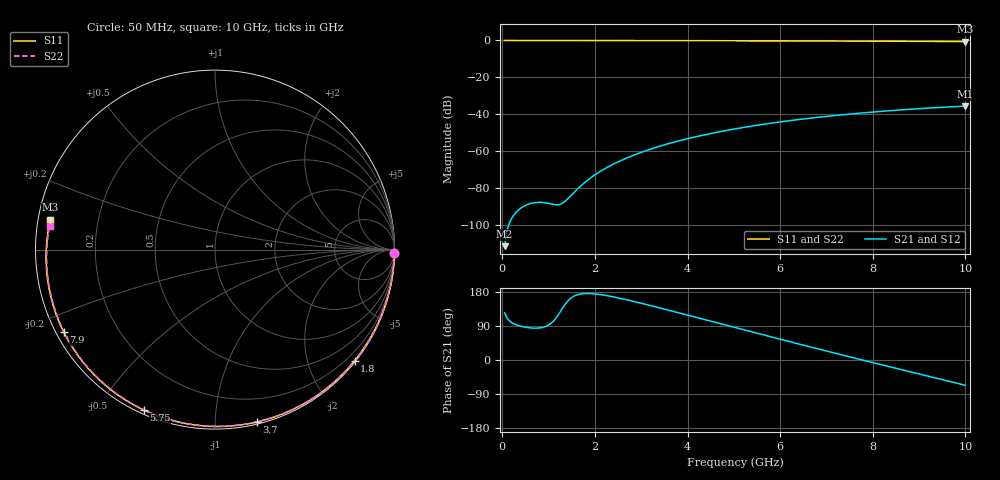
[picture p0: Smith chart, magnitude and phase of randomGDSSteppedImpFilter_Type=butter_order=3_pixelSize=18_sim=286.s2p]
! freq	dB(S11)	phase(S11)	dB(S12)	phase(S12)
!  dB(S21)	phase(S21)	dB(S22)	phase(S22)
!S-par simulation data
#  GHz  S  DB  R 50
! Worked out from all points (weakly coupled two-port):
!   200 points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, 50 MHz to 10 GHz, reference 50 ohm
!   highest |S21| = -35.66 dB at 10 GHz (marker M1); lowest = -111.7 dB at 50 MHz (marker M2)
!   lowest |S11| = -0.6 dB at 10 GHz (marker M3), VSWR 28.63, Z = 1.76 + j4.51 ohm
!   |S11| at or under -10 dB: nowhere
!   |S22| runs from -0.6 to 0.0 dB; largest |S21 - S12| = 0
!   S11 on the Smith chart (normalised r, x): 50 MHz: open; 1.8 GHz: 0.03, -2.87; 3.7 GHz: 0.02, -1.27; 5.75 GHz: 0.02, -0.65; 7.9 GHz: 0.02, -0.25; 10 GHz: 0.04, +0.09
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0.05  -0.00 -1.1  -111.69 124.4  -111.69 124.4  -0.00 -1.0
0.4  -0.01 -8.7  -91.03 89.1  -91.03 89.1  -0.01 -8.2
0.8  -0.02 -17.3  -87.86 84.6  -87.86 84.6  -0.02 -16.4
1.2  -0.03 -25.9  -89.23 117.6  -89.23 117.6  -0.03 -24.5
1.65  -0.04 -35.3  -80.01 173.0  -80.01 173.0  -0.04 -33.5
1.75  -0.05 -37.4  -77.75 175.1  -77.75 175.1  -0.04 -35.4
1.8  -0.05 -38.5  -76.70 175.5  -76.70 175.5  -0.05 -36.4
2.1  -0.06 -44.7  -71.35 173.0  -71.35 173.0  -0.05 -42.3
2.45  -0.07 -51.8  -66.52 165.3  -66.52 165.3  -0.06 -49.1
2.9  -0.08 -60.8  -61.68 152.7  -61.68 152.7  -0.07 -57.8
3.4  -0.09 -70.7  -57.43 137.5  -57.43 137.5  -0.09 -67.2
3.7  -0.10 -76.4  -55.27 128.0  -55.27 128.0  -0.10 -72.8
4.35  -0.13 -88.7  -51.33 107.3  -51.33 107.3  -0.12 -84.7
5.05  -0.16 -101.5  -47.91 84.9  -47.91 84.9  -0.15 -97.2
5.75  -0.19 -114.0  -45.12 62.7  -45.12 62.7  -0.19 -109.5
6.7  -0.25 -130.6  -42.05 32.9  -42.05 32.9  -0.25 -126.0
7.3  -0.30 -141.0  -40.46 14.5  -40.46 14.5  -0.30 -136.5
7.9  -0.36 -151.5  -39.08 -3.8  -39.08 -3.8  -0.35 -147.1
8.35  -0.40 -159.5  -38.17 -17.4  -38.17 -17.4  -0.40 -155.3
9.2  -0.50 -174.9  -36.71 -42.9  -36.71 -42.9  -0.50 -171.6
9.6  -0.55 177.5  -36.15 -54.8  -36.15 -54.8  -0.56 -179.7
10  -0.61 169.7  -35.66 -66.7  -35.66 -66.7  -0.62 171.8
